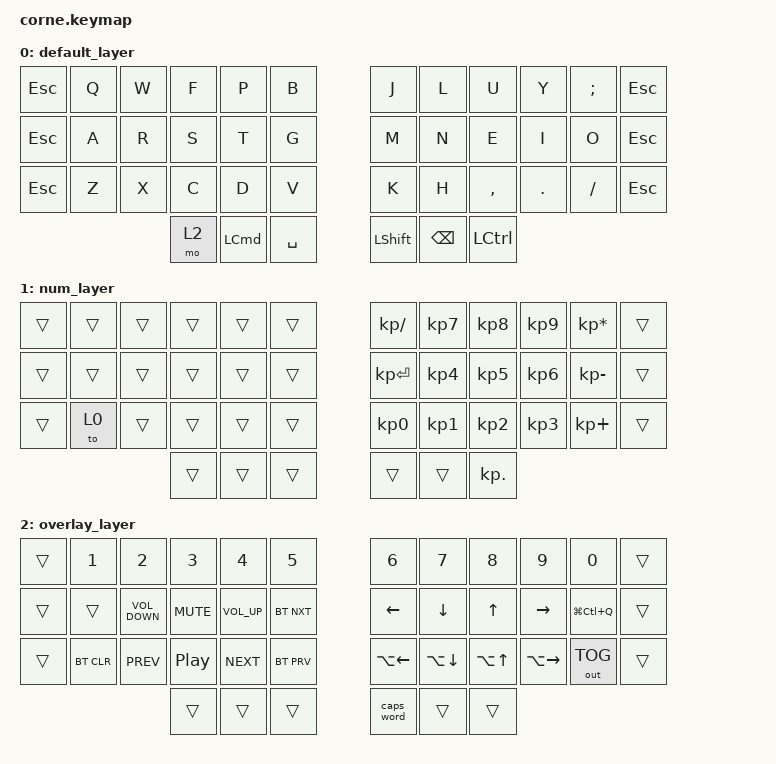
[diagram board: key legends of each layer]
/*
 * Copyright (c) 2020 The ZMK Contributors
 *
 * SPDX-License-Identifier: MIT
 */

#include <behaviors.dtsi>
#include <dt-bindings/zmk/keys.h>
#include <dt-bindings/zmk/bt.h>
#include <dt-bindings/zmk/outputs.h>

/ {
  keymap {
    compatible = "zmk,keymap";

    default_layer {
      bindings = <
//     +---------+---------+---------+---------+---------+---------+ +---------+---------+---------+---------+----------+---------+
//     |0        |1        |2        |3        |4        |5        | |6        |7        |8        |9        |10        |11       |
        &kp ESC   &kp Q     &kp W     &kp F     &kp P     &kp B       &kp J     &kp L     &kp U     &kp Y     &kp SEMI   &kp ESC
//     |         |         |         |         |         |         | |         |         |         |         |          |         |
//     +---------+---------+---------+---------+---------+---------+ +---------+---------+---------+---------+----------+---------+
//     |12       |13       |14       |15       |16       |17       | |18       |19       |20       |21       |22        |23       |
        &kp ESC   &kp A     &kp R     &kp S     &kp T     &kp G       &kp M     &kp N     &kp E     &kp I     &kp O      &kp ESC
//     |         |         |         |         |         |         | |         |         |         |         |          |         |
//     +---------+---------+---------+---------+---------+---------+ +---------+---------+---------+---------+----------+---------+
//     |24       |25       |26       |27       |28       |29       | |30       |31       |32       |33       |34        |35       |
        &kp ESC   &kp Z     &kp X     &kp C     &kp D     &kp V       &kp K     &kp H     &kp COMMA &kp DOT   &kp FSLH   &kp ESC
//     |         |         |         |         |         |         | |         |         |         |         |          |         |
//     +---------+---------+---------+---------+---------+---------+ +---------+---------+---------+---------+----------+---------+
//
//                                   +---------+---------+---------+ +---------+---------+---------+
//                                   |36       |37       |38       | |39       |40       |41       |
                                      &mo 2     &kp LCMD  &kp SPACE   &kp LSHFT &kp BKSP  &kp LCTRL
//                                   |         |         |         | |         |         |         |
//                                   +---------+---------+---------+ +---------+---------+---------+
      >;
    };

    num_layer {
      bindings = <
//     +---------+---------+---------+---------+---------+---------+ +---------+---------+---------+---------+----------+---------+
//     |0        |1        |2        |3        |4        |5        | |6        |7        |8        |9        |10        |11       |
        &trans    &trans    &trans    &trans    &trans    &trans      &kp KP_SLASH
                                                                                &kp KP_N7 &kp KP_N8 &kp KP_N9 &kp KP_ASTERISK
                                                                                                                         &trans
//     |         |         |         |         |         |         | |         |         |         |         |          |         |
//     +---------+---------+---------+---------+---------+---------+ +---------+---------+---------+---------+----------+---------+
//     |12       |13       |14       |15       |16       |17       | |18       |19       |20       |21       |22        |23       |
        &trans    &trans    &trans    &trans    &trans    &trans      &kp KP_ENTER
                                                                                &kp KP_N4 &kp KP_N5 &kp KP_N6 &kp KP_MINUS
                                                                                                                         &trans
//     |         |         |         |         |         |         | |         |         |         |         |          |         |
//     +---------+---------+---------+---------+---------+---------+ +---------+---------+---------+---------+----------+---------+
//     |24       |25       |26       |27       |28       |29       | |30       |31       |32       |33       |34        |35       |
        &trans    &to 0     &trans    &trans    &trans    &trans      &kp KP_N0 &kp KP_N1 &kp KP_N2 &kp KP_N3 &kp KP_PLUS
                                                                                                                         &trans
//     |         |         |         |         |         |         | |         |         |         |         |          |         |
//     +---------+---------+---------+---------+---------+---------+ +---------+---------+---------+---------+----------+---------+
//
//                                   +---------+---------+---------+ +---------+---------+---------+
//                                   |36       |37       |38       | |39       |40       |41       |
                                      &trans    &trans    &trans      &trans    &trans    &kp KP_DOT
//                                   |         |         |         | |         |         |         |
//                                   +---------+---------+---------+ +---------+---------+---------+
      >;
    };

    overlay_layer {
      bindings = <
//     +---------+---------+---------+---------+---------+---------+ +---------+---------+---------+---------+----------+---------+
//     |0        |1        |2        |3        |4        |5        | |6        |7        |8        |9        |10        |11       |
        &trans    &kp NUM_1 &kp NUM_2 &kp NUM_3 &kp NUM_4 &kp NUM_5   &kp NUM_6 &kp NUM_7 &kp NUM_8 &kp NUM_9 &kp NUM_0  &trans
//     |         |         |         |         |         |         | |         |         |         |         |          |         |
//     +---------+---------+---------+---------+---------+---------+ +---------+---------+---------+---------+----------+---------+
//     |12       |13       |14       |15       |16       |17       | |18       |19       |20       |21       |22        |23       |
        &trans    &trans    &kp C_VOLUME_DOWN
                                      &kp C_MUTE
                                                &kp C_VOLUME_UP
                                                          &bt BT_NXT
                                                                      &kp LEFT  &kp DOWN  &kp UP    &kp RIGHT &kp LG(LC(Q))
                                                                                                                         &trans
//     |         |         |         |         |         |         | |         |         |         |         |          |         |
//     +---------+---------+---------+---------+---------+---------+ +---------+---------+---------+---------+----------+---------+
//     |24       |25       |26       |27       |28       |29       | |30       |31       |32       |33       |34        |35       |
        &trans    &bt BT_CLR
                            &kp C_PREV
                                      &kp C_PLAY_PAUSE
                                                &kp C_NEXT
                                                          &bt BT_PRV
                                                                      &kp LA(LEFT)
                                                                                &kp LA(DOWN)
                                                                                          &kp LA(UP)
                                                                                                    &kp LA(RIGHT)
                                                                                                              &out OUT_TOG
                                                                                                                         &trans
//     |         |         |         |         |         |         | |         |         |         |         |          |         |
//     +---------+---------+---------+---------+---------+---------+ +---------+---------+---------+---------+----------+---------+
//
//                                   +---------+---------+---------+ +---------+---------+---------+
//                                   |36       |37       |38       | |39       |40       |41       |
                                      &trans    &trans    &trans      &caps_word
                                                                                &trans    &trans
//                                   |         |         |         | |         |         |         |
//                                   +---------+---------+---------+ +---------+---------+---------+
      >;
    };

  };
};

/ {
  combos {
    compatible = "zmk,combos";

    combo_left {
      timeout-ms = <50>;
      key-positions = <18 40>;
      bindings = <&kp LEFT>;
    };
    combo_down {
      timeout-ms = <50>;
      key-positions = <19 40>;
      bindings = <&kp DOWN>;
    };
    combo_up {
      timeout-ms = <50>;
      key-positions = <20 40>;
      bindings = <&kp UP>;
    };
    combo_right {
      timeout-ms = <50>;
      key-positions = <21 40>;
      bindings = <&kp RIGHT>;
    };

    combo_num_1 {
      timeout-ms = <50>;
      key-positions = <1 14>;
      bindings = <&kp NUM_1>;
    };
    combo_num_2 {
      timeout-ms = <50>;
      key-positions = <2 15>;
      bindings = <&kp NUM_2>;
    };
    combo_num_3 {
      timeout-ms = <50>;
      key-positions = <3 16>;
      bindings = <&kp NUM_3>;
    };
    combo_num_4 {
      timeout-ms = <50>;
      key-positions = <4 17>;
      bindings = <&kp NUM_4>;
    };
    combo_num_5 {
      timeout-ms = <100>;
      key-positions = <5 17>;
      bindings = <&kp NUM_5>;
    };
    combo_num_6 {
      timeout-ms = <100>;
      key-positions = <6 18>;
      layers = <0>;
      bindings = <&kp NUM_6>;
    };
    combo_num_7 {
      timeout-ms = <50>;
      key-positions = <7 18>;
      layers = <0>;
      bindings = <&kp NUM_7>;
    };
    combo_num_8 {
      timeout-ms = <50>;
      key-positions = <8 19>;
      layers = <0>;
      bindings = <&kp NUM_8>;
    };
    combo_num_9 {
      timeout-ms = <50>;
      key-positions = <9 20>;
      layers = <0>;
      bindings = <&kp NUM_9>;
    };
    combo_num_0 {
      timeout-ms = <50>;
      key-positions = <10 21>;
      layers = <0>;
      bindings = <&kp NUM_0>;
    };

    combo_escape {
      timeout-ms = <100>;
      key-positions = <14 15 16>;
      bindings = <&kp ESC>;
    };
    combo_tab {
      timeout-ms = <100>;
      key-positions = <1 2 15>;
      bindings = <&kp TAB>;
    };
    combo_enter {
      timeout-ms = <50>;
      key-positions = <19 39>;
      bindings = <&kp ENTER>;
    };
    combo_shift_enter {
      timeout-ms = <100>;
      key-positions = <19 39 22>;
      bindings = <&kp LS(ENTER)>;
    };

    combo_grave {
      timeout-ms = <100>;
      key-positions = <2 3 4>;
      bindings = <&kp GRAVE>;
    };

    combo_minus {
      timeout-ms = <100>;
      key-positions = <7 8 9>;
      layers = <0>;
      bindings = <&kp MINUS>;
    };
    combo_underscore {
      timeout-ms = <100>;
      key-positions = <6 7 8>;
      layers = <0>;
      bindings = <&kp UNDERSCORE>;
    };

    combo_equal {
      timeout-ms = <100>;
      key-positions = <19 20 21>;
      layers = <0>;
      bindings = <&kp EQUAL>;
    };
    combo_plus {
      timeout-ms = <100>;
      key-positions = <18 19 20>;
      layers = <0>;
      bindings = <&kp PLUS>;
    };

    combo_single_quote {
      timeout-ms = <100>;
      key-positions = <20 21 22>;
      layers = <0>;
      bindings = <&kp SINGLE_QUOTE>;
    };
    combo_double_quote {
      timeout-ms = <100>;
      key-positions = <32 33 34>;
      layers = <0>;
      bindings = <&kp DOUBLE_QUOTES>;
    };

    combo_backslash {
      timeout-ms = <100>;
      key-positions = <31 32 33>;
      layers = <0>;
      bindings = <&kp BACKSLASH>;
    };
    combo_pipe {
      timeout-ms = <100>;
      key-positions = <30 31 32>;
      layers = <0>;
      bindings = <&kp PIPE>;
    };

    combo_lparen {
      timeout-ms = <50>;
      key-positions = <2 3>;
      bindings = <&kp LEFT_PARENTHESIS>;
    };
    combo_rparen {
      timeout-ms = <50>;
      key-positions = <3 4>;
      bindings = <&kp RIGHT_PARENTHESIS>;
    };

    combo_lbracket {
      timeout-ms = <50>;
      key-positions = <26 27>;
      bindings = <&kp LEFT_BRACKET>;
    };
    combo_rbracket {
      timeout-ms = <50>;
      key-positions = <27 28>;
      bindings = <&kp RIGHT_BRACKET>;
    };

    combo_lbrace {
      timeout-ms = <50>;
      key-positions = <2 16>;
      bindings = <&kp LEFT_BRACE>;
    };
    combo_rbrace {
      timeout-ms = <50>;
      key-positions = <4 14>;
      bindings = <&kp RIGHT_BRACE>;
    };

    combo_langle {
      timeout-ms = <50>;
      key-positions = <7 21>;
      layers = <0>;
      bindings = <&kp LESS_THAN>;
    };
    combo_rangle {
      timeout-ms = <50>;
      key-positions = <9 19>;
      layers = <0>;
      bindings = <&kp GREATER_THAN>;
    };

    combo_alt_left {
      timeout-ms = <50>;
      key-positions = <19 20 30>;
      layers = <0>;
      bindings = <&kp LA(LEFT_ARROW)>;
    };
    combo_alt_down {
      timeout-ms = <50>;
      key-positions = <18 19 32>;
      layers = <0>;
      bindings = <&kp LA(DOWN_ARROW)>;
    };
    combo_alt_up {
      timeout-ms = <50>;
      key-positions = <19 20 33>;
      layers = <0>;
      bindings = <&kp LA(UP_ARROW)>;
    };
    combo_alt_right {
      timeout-ms = <50>;
      key-positions = <20 21 31>;
      layers = <0>;
      bindings = <&kp LA(RIGHT_ARROW)>;
    };

    combo_ctrl_c {
      timeout-ms = <100>;
      key-positions = <26 27 28>;
      bindings = <&kp LC(C)>;
    };

    combo_ctrl_d {
      timeout-ms = <100>;
      key-positions = <14 15 37>;
      bindings = <&kp LC(D)>;
    };
    combo_ctrl_u {
      timeout-ms = <100>;
      key-positions = <20 21 40>;
      bindings = <&kp LC(U)>;
    };

    combo_alt_bs {
      timeout-ms = <100>;
      key-positions = <40 22>;
      bindings = <&kp LA(BACKSPACE)>;
    };
    combo_shift {
      timeout-ms = <100>;
      key-positions = <25 26>;
      bindings = <&kp LEFT_SHIFT>;
    };
    combo_ctrl {
      timeout-ms = <100>;
      key-positions = <25 36>;
      bindings = <&kp LEFT_CONTROL>;
    };
    combo_ctrl_shift {
      timeout-ms = <100>;
      key-positions = <36 37>;
      bindings = <&kp LC(LEFT_SHIFT)>;
    };
    combo_alt {
      timeout-ms = <100>;
      key-positions = <13 36>;
      bindings = <&kp LEFT_ALT>;
    };
    combo_alt2 {
      timeout-ms = <100>;
      key-positions = <36 38>;
      bindings = <&kp LEFT_ALT>;
    };

    combo_cmd_tab {
      timeout-ms = <100>;
      key-positions = <14 15 28>;
      bindings = <&kp LG(TAB)>;
    };
    combo_shift_cmd_tab {
      timeout-ms = <100>;
      key-positions = <15 16 26>;
      bindings = <&kp LG(LS(TAB))>;
    };

    combo_ctrl_tab {
      timeout-ms = <100>;
      key-positions = <15 16 29>;
      bindings = <&kp LC(TAB)>;
    };
    combo_shift_ctrl_tab {
      timeout-ms = <100>;
      key-positions = <16 17 27>;
      bindings = <&kp LC(LS(TAB))>;
    };

    combo_num {
      timeout-ms = <100>;
      key-positions = <14 3 16>;
      bindings = <&to 1>;
    };
  };
};
